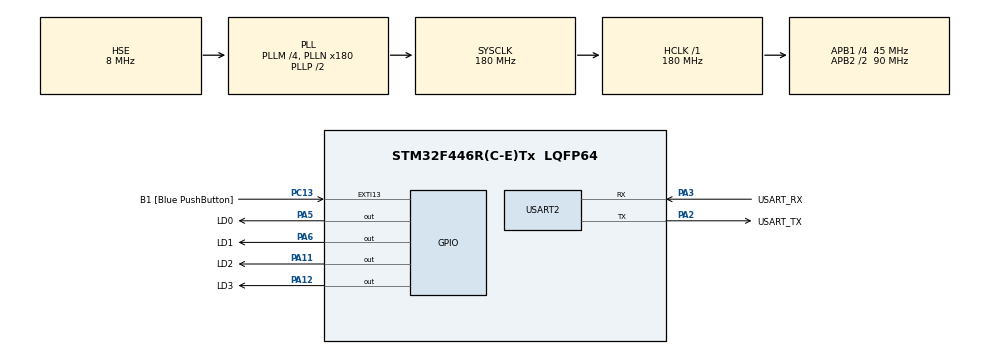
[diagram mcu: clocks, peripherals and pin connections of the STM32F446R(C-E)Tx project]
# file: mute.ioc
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FREERTOS.INCLUDE_uxTaskGetStackHighWaterMark=1
FREERTOS.INCLUDE_uxTaskGetStackHighWaterMark2=1
FREERTOS.Tasks01=defaultTask,0,128,StartDefaultTask,Default,NULL,Dynamic,NULL,NULL
FREERTOS.configCHECK_FOR_STACK_OVERFLOW=2
FREERTOS.configENABLE_BACKWARD_COMPATIBILITY=0
FREERTOS.configENABLE_FPU=1
FREERTOS.configRECORD_STACK_HIGH_ADDRESS=1
FREERTOS.configTOTAL_HEAP_SIZE=32768
FREERTOS.configUSE_APPLICATION_TASK_TAG=1
FREERTOS.configUSE_MALLOC_FAILED_HOOK=1
FREERTOS.configUSE_NEWLIB_REENTRANT=1
FREERTOS.configUSE_POSIX_ERRNO=1
FREERTOS.configUSE_TIMERS=1
Mcu.Family=STM32F4
Mcu.Name=STM32F446R(C-E)Tx
Mcu.Package=LQFP64
NVIC.PriorityGroup=NVIC_PRIORITYGROUP_4
NVIC.TIM8_TRG_COM_TIM14_IRQn=true\:15\:0\:false\:false\:true\:false\:false\:true\:true
NVIC.TimeBase=TIM8_TRG_COM_TIM14_IRQn
NVIC.TimeBaseIP=TIM14
NVIC.USART2_IRQn=true\:5\:0\:false\:false\:true\:true\:true\:true\:true
PA11.GPIO_Label=LD2
PA11.Signal=GPIO_Output
PA12.GPIO_Label=LD3
PA12.Signal=GPIO_Output
PA13.GPIO_Label=TMS
PA13.Mode=Trace_Asynchronous_SW
PA13.Signal=SYS_JTMS-SWDIO
PA14.GPIO_Label=TCK
PA14.Mode=Trace_Asynchronous_SW
PA14.Signal=SYS_JTCK-SWCLK
PA2.GPIO_Label=USART_TX
PA2.Mode=Asynchronous
PA2.Signal=USART2_TX
PA3.GPIO_Label=USART_RX
PA3.Mode=Asynchronous
PA3.Signal=USART2_RX
PA5.GPIO_Label=LD0
PA5.Signal=GPIO_Output
PA6.GPIO_Label=LD1
PA6.Signal=GPIO_Output
PB3.GPIO_Label=SWO
PB3.Mode=Trace_Asynchronous_SW
PB3.Signal=SYS_JTDO-SWO
PC13.GPIO_Label=B1 [Blue PushButton]
PC13.GPIO_ModeDefaultEXTI=GPIO_MODE_IT_FALLING
PC13.Signal=GPXTI13
PC14-OSC32_IN.Mode=LSE-External-Oscillator
PC14-OSC32_IN.Signal=RCC_OSC32_IN
PC15-OSC32_OUT.Mode=LSE-External-Oscillator
PC15-OSC32_OUT.Signal=RCC_OSC32_OUT
PH0-OSC_IN.Mode=HSE-External-Oscillator
PH0-OSC_IN.Signal=RCC_OSC_IN
PH1-OSC_OUT.Mode=HSE-External-Oscillator
PH1-OSC_OUT.Signal=RCC_OSC_OUT
ProjectManager.HeapSize=0x200
ProjectManager.StackSize=0x400
ProjectManager.TargetToolchain=STM32CubeIDE
RCC.48MHZClocksFreq_Value=84000000
RCC.AHBFreq_Value=180000000
RCC.APB1CLKDivider=RCC_HCLK_DIV4
RCC.APB1Freq_Value=45000000
RCC.APB1TimFreq_Value=90000000
RCC.APB2CLKDivider=RCC_HCLK_DIV2
RCC.APB2Freq_Value=90000000
RCC.APB2TimFreq_Value=180000000
RCC.CortexFreq_Value=180000000
RCC.FLatency-AdvancedSettings=FLASH_LATENCY_5
RCC.HCLKFreq_Value=180000000
RCC.HSE_VALUE=8000000
RCC.HSI_VALUE=16000000
RCC.PLLM=4
RCC.PLLN=180
RCC.PLLSourceVirtual=RCC_PLLSOURCE_HSE
RCC.SYSCLKFreq_VALUE=180000000
RCC.SYSCLKSource=RCC_SYSCLKSOURCE_PLLCLK
RCC.USBFreq_Value=180000000
RCC.VCOOutputFreq_Value=360000000
USART2.VirtualMode=VM_ASYNC
VP_FREERTOS_VS_CMSIS_V1.Mode=CMSIS_V1
VP_SYS_VS_tim14.Mode=TIM14
board=NUCLEO-F446RE

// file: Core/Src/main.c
/* USER CODE BEGIN Header */
/**
  ******************************************************************************
  * @file           : main.c
  * @brief          : Main program body
  ******************************************************************************
  * @attention
  *
  * Copyright (c) 2024 STMicroelectronics.
  * All rights reserved.
  *
  * This software is licensed under terms that can be found in the LICENSE file
  * in the root directory of this software component.
  * If no LICENSE file comes with this software, it is provided AS-IS.
  *
  ******************************************************************************
  */
/* USER CODE END Header */
#include "main.h"
#include "cmsis_os.h"
#include "usart.h"
#include "gpio.h"

void SystemClock_Config(void);
void MX_FREERTOS_Init(void);

int main(void)
{

  /* MCU Configuration--------------------------------------------------------*/

  /* Reset of all peripherals, Initializes the Flash interface and the Systick. */
  HAL_Init();

  /* Configure the system clock */
  SystemClock_Config();

  /* Initialize all configured peripherals */
  MX_GPIO_Init();
  MX_USART2_UART_Init();

  /* Call init function for freertos objects (in freertos.c) */
  MX_FREERTOS_Init();

  /* Start scheduler */
  osKernelStart();
  /* We should never get here as control is now taken by the scheduler */
  /* Infinite loop */
  while (1)
  {

  }
}

void SystemClock_Config(void)
{
  RCC_OscInitTypeDef RCC_OscInitStruct = {0};
  RCC_ClkInitTypeDef RCC_ClkInitStruct = {0};

  /** Configure the main internal regulator output voltage
  */
  __HAL_RCC_PWR_CLK_ENABLE();
  __HAL_PWR_VOLTAGESCALING_CONFIG(PWR_REGULATOR_VOLTAGE_SCALE1);

  /** Initializes the RCC Oscillators according to the specified parameters
  * in the RCC_OscInitTypeDef structure.
  */
  RCC_OscInitStruct.OscillatorType = RCC_OSCILLATORTYPE_HSE;
  RCC_OscInitStruct.HSEState = RCC_HSE_ON;
  RCC_OscInitStruct.PLL.PLLState = RCC_PLL_ON;
  RCC_OscInitStruct.PLL.PLLSource = RCC_PLLSOURCE_HSE;
  RCC_OscInitStruct.PLL.PLLM = 4;
  RCC_OscInitStruct.PLL.PLLN = 180;
  RCC_OscInitStruct.PLL.PLLP = RCC_PLLP_DIV2;
  RCC_OscInitStruct.PLL.PLLQ = 2;
  RCC_OscInitStruct.PLL.PLLR = 2;
  if (HAL_RCC_OscConfig(&RCC_OscInitStruct) != HAL_OK)
  {
    Error_Handler();
  }

  /** Activate the Over-Drive mode
  */
  if (HAL_PWREx_EnableOverDrive() != HAL_OK)
  {
    Error_Handler();
  }

  /** Initializes the CPU, AHB and APB buses clocks
  */
  RCC_ClkInitStruct.ClockType = RCC_CLOCKTYPE_HCLK|RCC_CLOCKTYPE_SYSCLK
                              |RCC_CLOCKTYPE_PCLK1|RCC_CLOCKTYPE_PCLK2;
  RCC_ClkInitStruct.SYSCLKSource = RCC_SYSCLKSOURCE_PLLCLK;
  RCC_ClkInitStruct.AHBCLKDivider = RCC_SYSCLK_DIV1;
  RCC_ClkInitStruct.APB1CLKDivider = RCC_HCLK_DIV4;
  RCC_ClkInitStruct.APB2CLKDivider = RCC_HCLK_DIV2;

  if (HAL_RCC_ClockConfig(&RCC_ClkInitStruct, FLASH_LATENCY_5) != HAL_OK)
  {
    Error_Handler();
  }
}

void HAL_TIM_PeriodElapsedCallback(TIM_HandleTypeDef *htim)
{
  if (htim->Instance == TIM14) {
    HAL_IncTick();
  }
}

void Error_Handler(void)
{
  __disable_irq();
  while (1)
  {
  }
}

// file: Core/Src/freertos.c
/* USER CODE BEGIN Header */
/**
  ******************************************************************************
  * File Name          : freertos.c
  * Description        : Code for freertos applications
  ******************************************************************************
  * @attention
  *
  * Copyright (c) 2024 STMicroelectronics.
  * All rights reserved.
  *
  * This software is licensed under terms that can be found in the LICENSE file
  * in the root directory of this software component.
  * If no LICENSE file comes with this software, it is provided AS-IS.
  *
  ******************************************************************************
  */
/* USER CODE END Header */

#include "FreeRTOS.h"
#include "task.h"
#include "main.h"
#include "cmsis_os.h"
#include "usart.h"

/* USER CODE BEGIN PTD */
typedef struct{
	int input;
	int result[3];
}DataBuffer;
DataBuffer dataBuffer;
/* USER CODE END PTD */

osThreadId defaultTaskHandle;
osMutexId Mutex1Handle;
osSemaphoreId Semafor1Handle;

/* USER CODE BEGIN FunctionPrototypes */
void vTaskCode( void * pvParameters );
/* USER CODE END FunctionPrototypes */

void StartDefaultTask(void const * argument);

void MX_FREERTOS_Init(void); /* (MISRA C 2004 rule 8.1) */

/* GetIdleTaskMemory prototype (linked to static allocation support) */
void vApplicationGetIdleTaskMemory( StaticTask_t **ppxIdleTaskTCBBuffer, StackType_t **ppxIdleTaskStackBuffer, uint32_t *pulIdleTaskStackSize );

/* Hook prototypes */
void vApplicationStackOverflowHook(TaskHandle_t xTask, signed char *pcTaskName);

/* USER CODE BEGIN 4 */
__weak void vApplicationStackOverflowHook(TaskHandle_t xTask, signed char *pcTaskName)
{
   /* Run time stack overflow checking is performed if
   configCHECK_FOR_STACK_OVERFLOW is defined to 1 or 2. This hook function is
   called if a stack overflow is detected. */
}
/* USER CODE END 4 */

/* USER CODE BEGIN GET_IDLE_TASK_MEMORY */
static StaticTask_t xIdleTaskTCBBuffer;
static StackType_t xIdleStack[configMINIMAL_STACK_SIZE];

void vApplicationGetIdleTaskMemory( StaticTask_t **ppxIdleTaskTCBBuffer, StackType_t **ppxIdleTaskStackBuffer, uint32_t *pulIdleTaskStackSize )
{
  *ppxIdleTaskTCBBuffer = &xIdleTaskTCBBuffer;
  *ppxIdleTaskStackBuffer = &xIdleStack[0];
  *pulIdleTaskStackSize = configMINIMAL_STACK_SIZE;
  /* place for user code */
}
/* USER CODE END GET_IDLE_TASK_MEMORY */

void MX_FREERTOS_Init(void) {
  /* USER CODE BEGIN Init */

	BaseType_t xReturned1, xReturned2,xReturned3;
	TaskHandle_t xHandle = NULL;

	xReturned1 = xTaskCreate(vTaskCode,"Task1",0x200,( void * ) 1,1, &xHandle );      /* Used to pass out the created task's handle. */
	xReturned2 = xTaskCreate(vTaskCode,"Task2",0x200,( void * ) 1,2, &xHandle );
	xReturned3 = xTaskCreate(vTaskCode,"Task3",0x200,( void * ) 1,3, &xHandle );
  /* USER CODE END Init */
  /* Create the mutex(es) */
  /* definition and creation of Mutex1 */
  osMutexDef(Mutex1);
  Mutex1Handle = osMutexCreate(osMutex(Mutex1));

  /* Create the semaphores(s) */
  /* definition and creation of Semafor1 */
  osSemaphoreDef(Semafor1);
  Semafor1Handle = osSemaphoreCreate(osSemaphore(Semafor1), 1);

  /* Create the thread(s) */
  /* definition and creation of defaultTask */
  osThreadDef(defaultTask, StartDefaultTask, osPriorityNormal, 0, 128);
  defaultTaskHandle = osThreadCreate(osThread(defaultTask), NULL);

}

void StartDefaultTask(void const * argument)
{
  for(;;)
  {
    osDelay(1);
  }
}

/* USER CODE BEGIN Application */
void vTaskCode( void * pvParameters )
{
    /* The parameter value is expected to be 1 as 1 is passed in the
       pvParameters value in the call to xTaskCreate() below. */
	int taskIndex = (int)pvParameters;
	while(1)
	{
		osMutexWait(Mutex1Handle, osWaitForever);
		int input = dataBuffer.input;
		int result = input*2;
		dataBuffer.result[taskIndex-1]=result;
		osMutexRelease(Mutex1Handle);

		char msg[50];
		sprintf(msg, "Task %d result: %d\n", taskIndex,result);
		HAL_UART_Transmit(&huart2, (uint8_t*)msg, strlen(msg),100);
		osDelay (result & 0xFF);
	}
}
/* USER CODE END Application */
